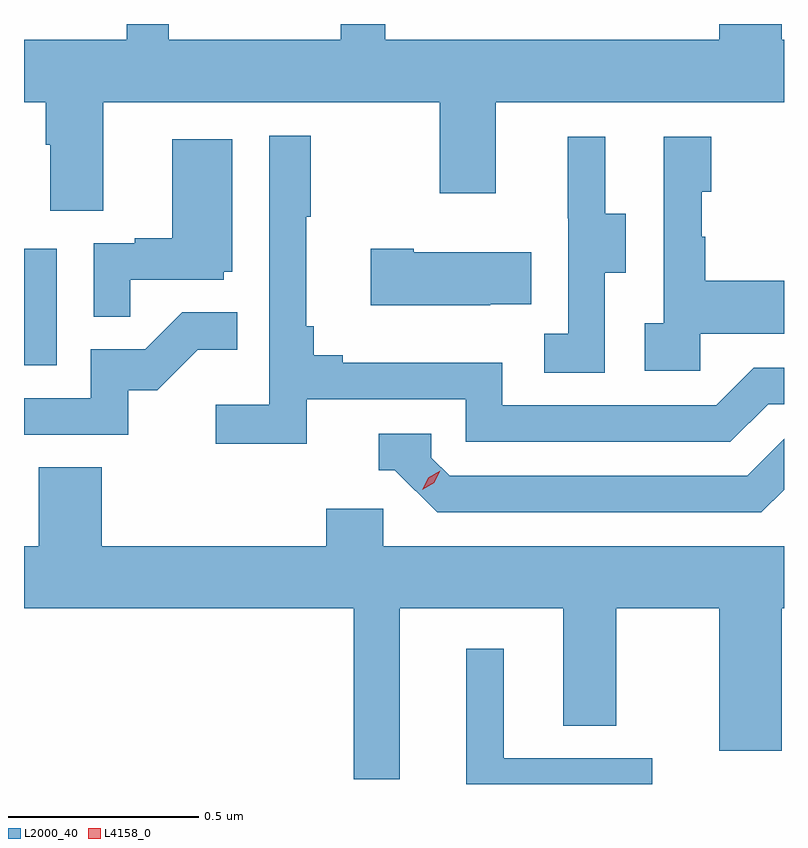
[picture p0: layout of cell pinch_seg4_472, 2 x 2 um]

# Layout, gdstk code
import gdstk
lib = gdstk.Library(unit=1e-6, precision=1e-09)
def R(c, l, rs):  # rectangles x0, y0, x1, y1
    for r in rs: c.add(gdstk.rectangle(r[:2], r[2:], *l))
def P(c, l, *ps):  # polygons
    for p in ps: c.add(gdstk.Polygon(p, *l))
L2000_40 = (2000, 40)
L4158_0 = (4158, 0)

pinch_seg4_472 = lib.new_cell('pinch_seg4_472')
R(pinch_seg4_472, L2000_40, [(894.446,768.156,894.532,768.463)])
P(pinch_seg4_472, L2000_40, [(894.655,768.848),(895.54,768.848),(895.54,768.609),(895.687,768.609),(895.687,768.848),(896.446,768.848),(896.446,769.012),(896.44,769.012),(896.44,769.054),(896.276,769.054),(896.276,769.012),(895.397,769.012),(895.397,769.054),(895.28,769.054),(895.28,769.012),(894.827,769.012),(894.827,769.054),(894.717,769.054),(894.717,769.012),(894.446,769.012),(894.446,768.848),(894.503,768.848),(894.503,768.736),(894.515,768.736),(894.515,768.562),(894.655,768.562)],
  [(895.19,768.066),(895.608,768.066),(895.608,767.955),(896.305,767.955),(896.404,768.054),(896.446,768.054),(896.446,768.15),(896.367,768.15),(896.268,768.051),(895.704,768.051),(895.704,768.163),(895.285,768.163),(895.285,768.182),(895.208,768.182),(895.208,768.259),(895.189,768.259),(895.189,768.547),(895.201,768.547),(895.201,768.76),(895.092,768.76),(895.092,768.052),(894.951,768.052),(894.951,767.95),(895.19,767.95)],
  [(895.974,768.4),(896.029,768.4),(896.029,768.555),(895.975,768.555),(895.975,768.757),(895.877,768.757),(895.877,768.543),(895.878,768.543),(895.878,768.239),(895.815,768.239),(895.815,768.136),(895.974,768.136)],
  [(896.226,768.239),(896.446,768.239),(896.446,768.379),(896.239,768.379),(896.239,768.494),(896.229,768.494),(896.229,768.612),(896.254,768.612),(896.254,768.757),(896.13,768.757),(896.13,768.266),(896.079,768.266),(896.079,768.141),(896.226,768.141)],
  [(894.725,768.381),(894.972,768.381),(894.972,768.402),(894.994,768.402),(894.994,768.751),(894.836,768.751),(894.836,768.49),(894.737,768.49),(894.737,768.477),(894.63,768.477),(894.63,768.283),(894.725,768.283)],
  [(895.673,768.317),(895.781,768.317),(895.781,768.454),(895.471,768.454),(895.471,768.462),(895.359,768.462),(895.359,768.314),(895.673,768.314)],
  [(894.72,768.09),(894.796,768.09),(894.903,768.197),(895.007,768.197),(895.007,768.296),(894.863,768.296),(894.765,768.198),(894.621,768.198),(894.621,768.069),(894.446,768.069),(894.446,767.973),(894.72,767.973)],
  [(896.446,767.829),(896.446,767.962),(896.349,767.865),(895.566,767.865),(895.518,767.913),(895.518,767.976),(895.379,767.976),(895.379,767.88),(895.422,767.88),(895.533,767.769),(896.386,767.769)],
  [(895.435,767.516),(895.865,767.516),(895.865,767.207),(896.005,767.207),(896.005,767.516),(896.276,767.516),(896.276,767.142),(896.44,767.142),(896.44,767.516),(896.446,767.516),(896.446,767.68),(895.392,767.68),(895.392,767.778),(895.241,767.778),(895.241,767.68),(894.65,767.68),(894.65,767.888),(894.485,767.888),(894.485,767.68),(894.446,767.68),(894.446,767.516),(895.314,767.516),(895.314,767.067),(895.435,767.067)],
  [(896.099,767.122),(895.708,767.122),(895.708,767.41),(895.61,767.41),(895.61,767.054),(896.099,767.054)])
P(pinch_seg4_472, L4158_0, [(895.494,767.828),(895.494,767.828),(895.51,767.86),(895.541,767.879),(895.541,767.879),(895.541,767.879),(895.525,767.847),(895.494,767.828)])

lib.write_gds('pinch_seg4_472.gds')
